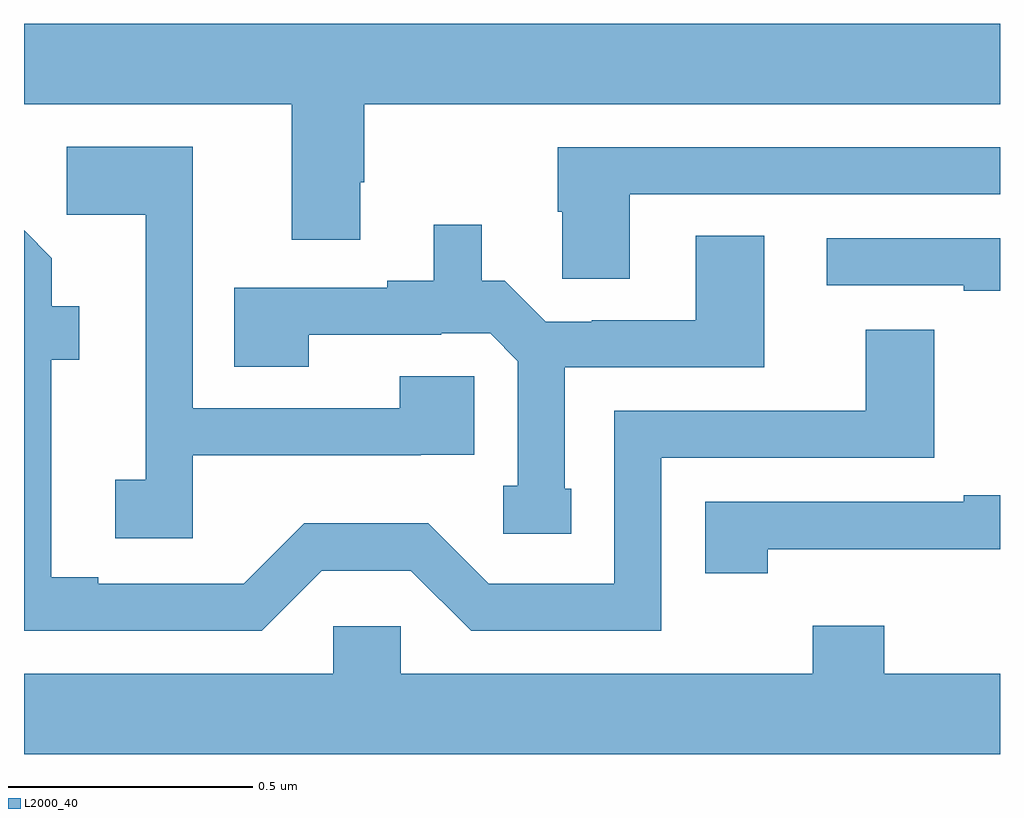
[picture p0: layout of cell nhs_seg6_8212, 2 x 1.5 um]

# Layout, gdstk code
import gdstk
lib = gdstk.Library(unit=1e-6, precision=1e-09)
def P(c, l, *ps):  # polygons
    for p in ps: c.add(gdstk.Polygon(p, *l))
L2000_40 = (2000, 40)

nhs_seg6_8212 = lib.new_cell('nhs_seg6_8212')
P(nhs_seg6_8212, L2000_40, [(218.689,953.836),(218.697,953.836),(218.697,953.996),(220,953.996),(220,954.16),(218,954.16),(218,953.996),(218.549,953.996),(218.549,953.718),(218.689,953.718)],
  [(218.346,953.276),(218.813,953.276),(218.813,953.277),(218.923,953.277),(218.923,953.438),(218.77,953.438),(218.77,953.373),(218.346,953.373),(218.346,953.908),(218.088,953.908),(218.088,953.769),(218.249,953.769),(218.249,953.226),(218.187,953.226),(218.187,953.106),(218.346,953.106)],
  [(219.241,953.811),(220,953.811),(220,953.907),(219.094,953.907),(219.094,953.775),(219.103,953.775),(219.103,953.638),(219.241,953.638)],
  [(219.121,953.208),(219.108,953.208),(219.108,953.457),(219.517,953.457),(219.517,953.726),(219.377,953.726),(219.377,953.553),(219.163,953.553),(219.163,953.55),(219.069,953.55),(218.985,953.634),(218.938,953.634),(218.938,953.749),(218.84,953.749),(218.84,953.634),(218.744,953.634),(218.744,953.619),(218.431,953.619),(218.431,953.458),(218.583,953.458),(218.583,953.523),(218.855,953.523),(218.855,953.526),(218.955,953.526),(219.012,953.469),(219.012,953.214),(218.982,953.214),(218.982,953.115),(219.121,953.115)],
  [(218.61,953.04),(218.793,953.04),(218.916,952.917),(219.306,952.917),(219.306,953.271),(219.865,953.271),(219.865,953.533),(219.725,953.533),(219.725,953.367),(219.21,953.367),(219.21,953.013),(218.952,953.013),(218.828,953.137),(218.574,953.137),(218.45,953.013),(218.152,953.013),(218.152,953.026),(218.056,953.026),(218.056,953.472),(218.113,953.472),(218.113,953.582),(218.057,953.582),(218.057,953.68),(218,953.737),(218,952.917),(218.487,952.917)],
  [(220,953.721),(219.645,953.721),(219.645,953.625),(219.926,953.625),(219.926,953.613),(220,953.613)],
  [(219.524,953.084),(220,953.084),(220,953.194),(219.926,953.194),(219.926,953.181),(219.396,953.181),(219.396,953.034),(219.524,953.034)],
  [(220,952.828),(219.763,952.828),(219.763,952.927),(219.616,952.927),(219.616,952.828),(218.772,952.828),(218.772,952.926),(218.634,952.926),(218.634,952.828),(218,952.828),(218,952.664),(220,952.664)])

lib.write_gds('nhs_seg6_8212.gds')
